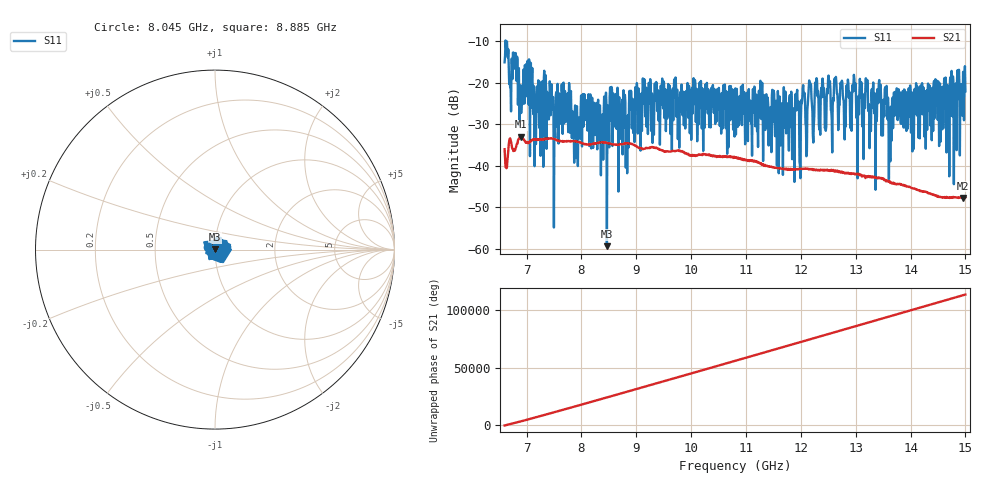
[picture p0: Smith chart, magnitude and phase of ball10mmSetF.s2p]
!Keysight Technologies,N5235B,MY61252044,A.15.00.15
!Date: Friday, January 20, 2023 18:59:47
!Correction: S11(Off)
!S21(Off)
!S12(Off)
!S22(Off)
!S2P File: Measurements: S11, S21, S12, S22:
# Hz S  RI  R 50
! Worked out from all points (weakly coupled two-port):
!   1001 points, 6.6 GHz to 15 GHz, reference 50 ohm
!   highest |S21| = -33.04 dB at 6.902 GHz (marker M1); lowest = -47.8 dB at 14.95 GHz (marker M2)
!   lowest |S11| = -59.3 dB at 8.465 GHz (marker M3), VSWR 1.00, Z = 50 + j0.1 ohm
!   |S11| at or under -10 dB: start of sweep to 6.616543 GHz; 6.618 GHz to end of sweep
!   S12 and S22 are empty: the file has one direction only
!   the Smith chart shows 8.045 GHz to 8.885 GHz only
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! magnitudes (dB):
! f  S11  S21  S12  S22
! 6.6 GHz  -15.1  -36.0  -  -
! 6.701 GHz  -21.1  -33.4  -  -
! 6.793 GHz  -16.6  -36.2  -  -
! 6.902 GHz  -27.3  -33.0  -  -
! 7.012 GHz  -22.5  -34.5  -  -
! 7.163 GHz  -26.2  -33.7  -  -
! 8.003 GHz  -26.7  -34.6  -  -
! 8.465 GHz  -59.3  -34.5  -  -
! 8.557 GHz  -21.7  -34.8  -  -
! 8.818 GHz  -28.2  -34.6  -  -
! 9.137 GHz  -25.1  -35.9  -  -
! 9.406 GHz  -29.1  -35.9  -  -
! 10.8 GHz  -21.5  -38.1  -  -
! 11.3 GHz  -20.1  -39.8  -  -
! 11.63 GHz  -35.1  -40.6  -  -
! 12.2 GHz  -25.2  -40.8  -  -
! 12.98 GHz  -19.1  -41.9  -  -
! 13.05 GHz  -23.2  -41.9  -  -
! 13.55 GHz  -25.1  -43.5  -  -
! 13.61 GHz  -43.3  -43.7  -  -
! 14.95 GHz  -28.0  -47.8  -  -
! 15 GHz  -22.1  -47.7  -  -
